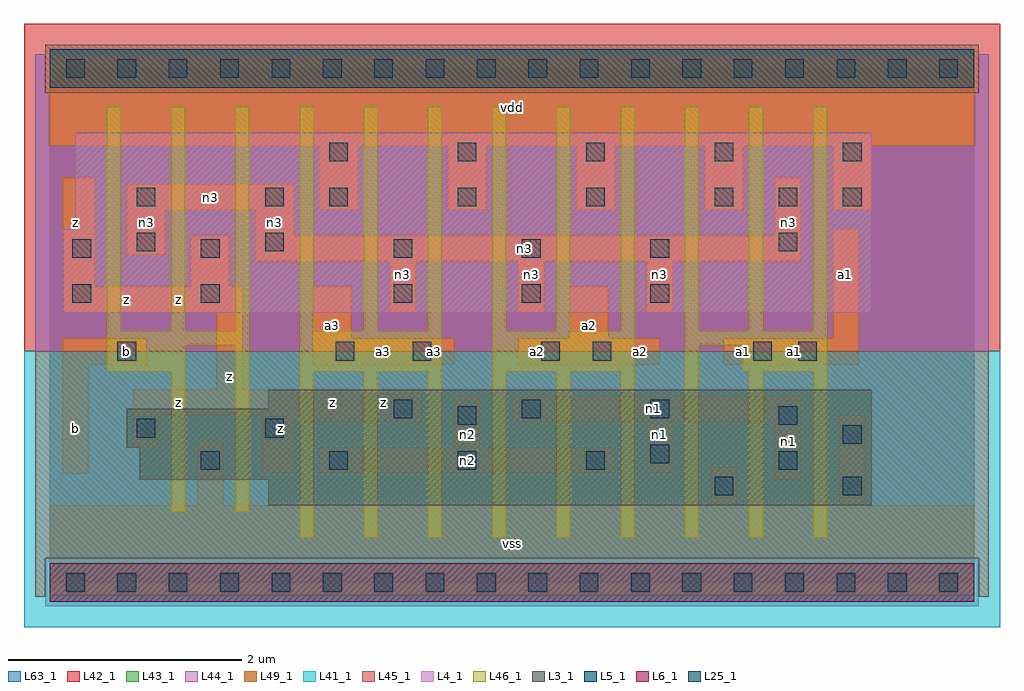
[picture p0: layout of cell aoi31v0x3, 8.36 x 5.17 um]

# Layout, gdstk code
import gdstk
lib = gdstk.Library(unit=1e-6, precision=1e-09)
def R(c, l, rs):  # rectangles x0, y0, x1, y1
    for r in rs: c.add(gdstk.rectangle(r[:2], r[2:], *l))
def A(c, l, x, y, w, h, nx, ny, dx, dy):  # array of equal rectangles
    R(c, l, [(x+i*dx, y+j*dy, x+i*dx+w, y+j*dy+h) for i in range(nx) for j in range(ny)])
L3_1 = (3, 1)
L4_1 = (4, 1)
L5_1 = (5, 1)
L6_1 = (6, 1)
L25_1 = (25, 1)
L41_1 = (41, 1)
L42_1 = (42, 1)
L43_1 = (43, 1)
L44_1 = (44, 1)
L45_1 = (45, 1)
L46_1 = (46, 1)
L49_1 = (49, 1)
L63_1 = (63, 1)

aoi31v0x3 = lib.new_cell('aoi31v0x3')
R(aoi31v0x3, L3_1, [(1.87,0.66,7.04,0.88), (0.77,0.88,7.04,1.155), (0.66,1.155,7.04,1.485), (1.87,1.485,7.04,1.65)])
R(aoi31v0x3, L4_1, [(0.11,2.31,7.04,3.025), (0.22,3.025,7.04,3.85)])
R(aoi31v0x3, L5_1, [(0,4.235,7.92,4.565)])
R(aoi31v0x3, L6_1, [(0,-0.165,7.92,0.165)])
A(aoi31v0x3, L25_1, 0.14, -0.08, 0.16, 0.16, 18, 2, 0.44, 4.4)
A(aoi31v0x3, L25_1, 1.295, 0.965, 0.16, 0.16, 4, 1, 1.1, 0)
A(aoi31v0x3, L25_1, 2.945, 1.405, 0.16, 0.16, 3, 2, 1.1, 0.99)
A(aoi31v0x3, L25_1, 2.945, 2.78, 0.16, 0.16, 3, 1, 1.1, 0)
A(aoi31v0x3, L25_1, 2.395, 3.22, 0.16, 0.16, 4, 1, 1.1, 0)
A(aoi31v0x3, L25_1, 2.395, 3.605, 0.16, 0.16, 5, 1, 1.1, 0)
R(aoi31v0x3, L25_1, [(5.695,0.745,5.855,0.905), (6.795,0.745,6.955,0.905), (6.245,0.965,6.405,1.125), (5.145,1.02,5.305,1.18), (6.795,1.185,6.955,1.345), (0.745,1.24,0.905,1.4), (1.845,1.24,2.005,1.4), (3.495,1.35,3.655,1.51), (6.245,1.35,6.405,1.51), (0.58,1.9,0.74,2.06), (2.45,1.9,2.61,2.06), (3.11,1.9,3.27,2.06), (4.21,1.9,4.37,2.06), (4.65,1.9,4.81,2.06), (6.025,1.9,6.185,2.06), (6.41,1.9,6.57,2.06), (0.195,2.395,0.355,2.555), (1.295,2.395,1.455,2.555), (0.195,2.78,0.355,2.94), (1.295,2.78,1.455,2.94), (0.745,2.835,0.905,2.995), (1.845,2.835,2.005,2.995), (6.245,2.835,6.405,2.995), (0.745,3.22,0.905,3.38), (1.845,3.22,2.005,3.38), (6.245,3.22,6.405,3.38), (6.795,3.22,6.955,3.38)])
R(aoi31v0x3, L41_1, [(-0.22,-0.385,8.14,1.98)])
R(aoi31v0x3, L42_1, [(-0.22,1.98,8.14,4.785)])
R(aoi31v0x3, L43_1, [(0,-0.165,7.92,0.165), (1.87,0.66,7.04,0.88), (0.77,0.88,7.04,1.155), (0.66,1.155,7.04,1.485), (1.87,1.485,7.04,1.65), (0.11,2.31,7.04,3.025), (0.22,3.025,7.04,3.85), (0,4.235,7.92,4.565)])
R(aoi31v0x3, L44_1, [(-0.04,-0.205,7.96,0.205), (-0.125,1.98,8.045,4.195), (-0.125,4.195,-0.04,4.525), (7.96,4.195,8.045,4.525)])
R(aoi31v0x3, L45_1, [(-0.125,-0.125,-0.04,0.205), (7.96,-0.125,8.045,0.205), (-0.125,0.205,8.045,1.98), (-0.04,4.195,7.96,4.605)])
A(aoi31v0x3, L46_1, 2.14, 0.38, 0.12, 1.43, 6, 1, 0.55, 0)
A(aoi31v0x3, L46_1, 0.49, 2.15, 0.12, 1.925, 12, 1, 0.55, 0)
R(aoi31v0x3, L46_1, [(5.44,0.38,5.56,2.03), (5.99,0.38,6.11,1.81), (6.54,0.38,6.66,1.81), (1.04,0.6,1.16,1.81), (1.59,0.6,1.71,2.03), (0.49,1.81,1.16,2.03), (2.14,1.81,3.36,2.15), (3.79,1.81,5.01,2.15), (5.935,1.81,6.66,2.03), (0.49,2.03,1.71,2.15), (5.44,2.03,6.66,2.15)])
A(aoi31v0x3, L49_1, 2.915, 2.31, 0.22, 0.44, 3, 1, 1.1, 0)
A(aoi31v0x3, L49_1, 2.31, 3.19, 0.33, 0.55, 5, 1, 1.1, 0)
R(aoi31v0x3, L49_1, [(0,-0.11,7.92,0.66), (1.265,0.66,1.485,1.21), (5.665,0.66,5.885,0.99), (6.765,0.66,6.985,1.43), (6.215,0.88,6.435,1.375), (0.11,0.935,0.33,1.87), (1.815,0.935,2.09,1.375), (2.31,0.935,4.84,1.155), (5.115,0.935,5.335,1.375), (0.715,1.155,0.935,1.43), (3.465,1.155,3.685,1.595), (1.815,1.375,3.19,1.43), (3.96,1.375,6.435,1.595), (0.715,1.43,3.19,1.65), (1.43,1.65,1.65,2.31), (0.11,1.87,0.825,2.09), (2.255,1.87,3.465,2.09), (4.015,1.87,5.225,2.09), (5.775,1.87,6.93,2.09), (2.255,2.09,2.585,2.53), (4.455,2.09,4.785,2.53), (6.71,2.09,6.93,3.025), (0.11,2.31,1.65,2.53), (0.11,2.53,0.385,3.465), (1.21,2.53,1.54,2.97), (1.76,2.75,6.435,2.97), (0.66,2.805,0.99,3.19), (1.76,2.97,2.09,3.19), (6.215,2.97,6.435,3.465), (0.66,3.19,2.09,3.41), (0,3.74,7.92,4.51)])
R(aoi31v0x3, L63_1, [(0,0,7.92,4.4)])
aoi31v0x3.add(gdstk.Label('z', (1.1,1.54), layer=49, texttype=1))
aoi31v0x3.add(gdstk.Label('b', (0.22,1.32), layer=49, texttype=1))
aoi31v0x3.add(gdstk.Label('b', (0.66,1.98), layer=49, texttype=1))
aoi31v0x3.add(gdstk.Label('z', (0.66,2.42), layer=49, texttype=1))
aoi31v0x3.add(gdstk.Label('z', (1.1,2.42), layer=49, texttype=1))
aoi31v0x3.add(gdstk.Label('n3', (0.825,3.08), layer=49, texttype=1))
aoi31v0x3.add(gdstk.Label('z', (0.22,3.08), layer=49, texttype=1))
aoi31v0x3.add(gdstk.Label('z', (1.98,1.32), layer=49, texttype=1))
aoi31v0x3.add(gdstk.Label('z', (2.42,1.54), layer=49, texttype=1))
aoi31v0x3.add(gdstk.Label('z', (2.86,1.54), layer=49, texttype=1))
aoi31v0x3.add(gdstk.Label('z', (1.54,1.76), layer=49, texttype=1))
aoi31v0x3.add(gdstk.Label('a3', (2.42,2.2), layer=49, texttype=1))
aoi31v0x3.add(gdstk.Label('a3', (2.86,1.98), layer=49, texttype=1))
aoi31v0x3.add(gdstk.Label('n3', (1.925,3.08), layer=49, texttype=1))
aoi31v0x3.add(gdstk.Label('n3', (1.375,3.3), layer=49, texttype=1))
aoi31v0x3.add(gdstk.Label('vss', (3.96,0.33), layer=49, texttype=1))
aoi31v0x3.add(gdstk.Label('n2', (3.575,1.265), layer=49, texttype=1))
aoi31v0x3.add(gdstk.Label('a3', (3.3,1.98), layer=49, texttype=1))
aoi31v0x3.add(gdstk.Label('a2', (4.18,1.98), layer=49, texttype=1))
aoi31v0x3.add(gdstk.Label('a2', (4.62,2.2), layer=49, texttype=1))
aoi31v0x3.add(gdstk.Label('n3', (4.125,2.64), layer=49, texttype=1))
aoi31v0x3.add(gdstk.Label('n3', (3.025,2.64), layer=49, texttype=1))
aoi31v0x3.add(gdstk.Label('vdd', (3.96,4.07), layer=49, texttype=1))
aoi31v0x3.add(gdstk.Label('n2', (3.575,1.045), layer=49, texttype=1))
aoi31v0x3.add(gdstk.Label('n1', (5.225,1.265), layer=49, texttype=1))
aoi31v0x3.add(gdstk.Label('a1', (5.94,1.98), layer=49, texttype=1))
aoi31v0x3.add(gdstk.Label('a2', (5.06,1.98), layer=49, texttype=1))
aoi31v0x3.add(gdstk.Label('n3', (5.225,2.64), layer=49, texttype=1))
aoi31v0x3.add(gdstk.Label('n1', (6.325,1.21), layer=49, texttype=1))
aoi31v0x3.add(gdstk.Label('n1', (5.17,1.485), layer=49, texttype=1))
aoi31v0x3.add(gdstk.Label('a1', (6.38,1.98), layer=49, texttype=1))
aoi31v0x3.add(gdstk.Label('a1', (6.82,2.64), layer=49, texttype=1))
aoi31v0x3.add(gdstk.Label('n3', (6.325,3.08), layer=49, texttype=1))
aoi31v0x3.add(gdstk.Label('n3', (4.07,2.86), layer=49, texttype=1))

lib.write_gds('aoi31v0x3.gds')
